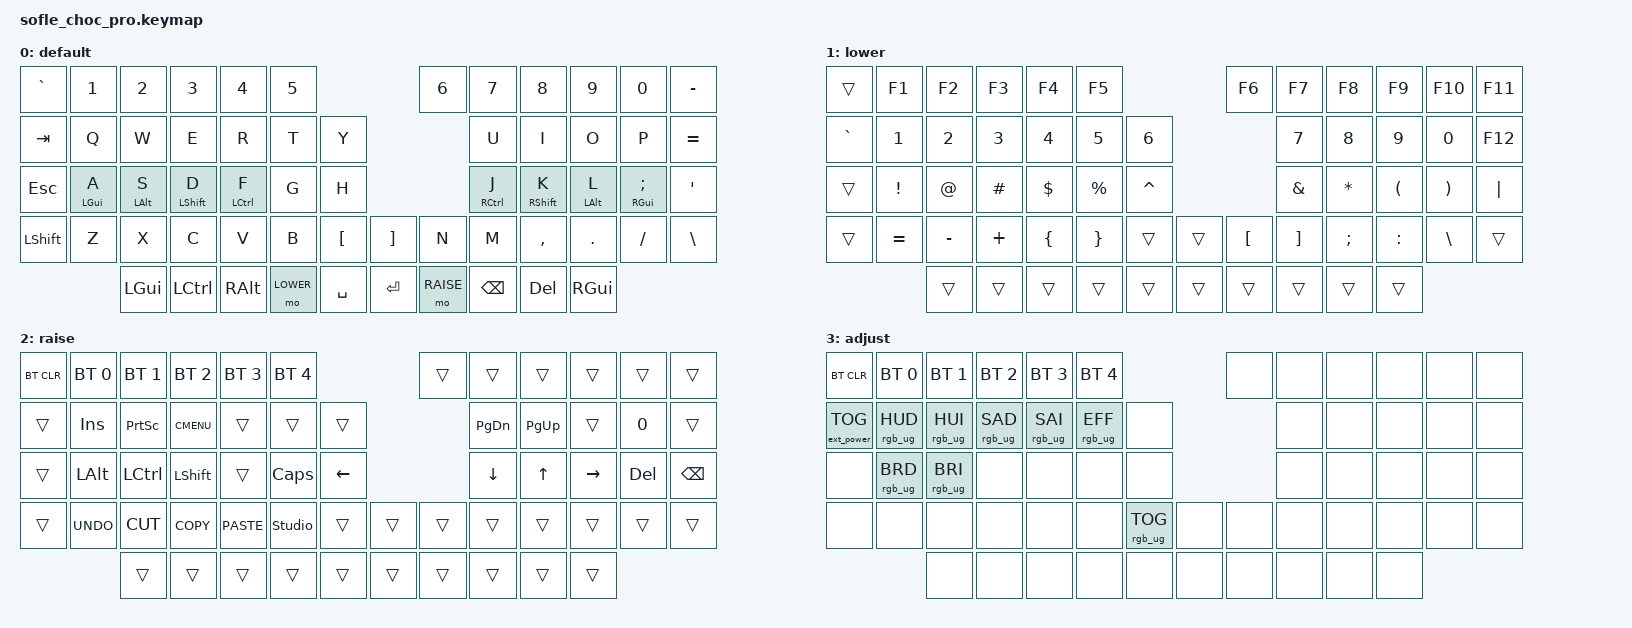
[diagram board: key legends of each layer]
/*
* Copyright (c) 2020 The ZMK Contributors
*
* SPDX-License-Identifier: MIT
*/

#include <behaviors.dtsi>
#include <dt-bindings/zmk/bt.h>
#include <dt-bindings/zmk/ext_power.h>
#include <dt-bindings/zmk/keys.h>
#include <dt-bindings/zmk/rgb.h>

#define BASE 0
#define LOWER 1
#define RAISE 2
#define ADJUST 3

/ {
    // Activate ADJUST layer by pressing raise and lower

    conditional_layers {
        compatible = "zmk,conditional-layers";

        adjust_layer {
            if-layers = <LOWER RAISE>;
            then-layer = <ADJUST>;
        };
    };

    behaviors {
        hml: hml {
            compatible = "zmk,behavior-hold-tap";
            label = "HML";
            bindings = <&kp>, <&kp>;

            #binding-cells = <2>;
            tapping-term-ms = <150>;
            quick-tap-ms = <175>;
            require-prior-idle-ms = <50>;
            flavor = "balanced";
            hold-trigger-on-release;
            hold-trigger-key-positions = <28 27 26 25>;
            retro-tap;
        };

        hmr: hmr {
            compatible = "zmk,behavior-hold-tap";
            label = "HMR";
            bindings = <&kp>, <&kp>;

            #binding-cells = <2>;
            tapping-term-ms = <150>;
            quick-tap-ms = <175>;
            require-prior-idle-ms = <50>;
            flavor = "balanced";
            hold-trigger-on-release;
            hold-trigger-key-positions = <31 32 33 34>;
            retro-tap;
        };
    };

    keymap {
        compatible = "zmk,keymap";

        default_layer {
            display-name = "default";

            // ------------------------------------------------------------------------------------------------------------
            // |   `   |  1  |  2  |  3   |  4   |  5   |                   |  6   |  7    |  8    |  9   |   0   |   `   |
            // |  ESC  |  Q  |  W  |  E   |  R   |  T   |                   |  Y   |  U    |  I    |  O   |   P   | BKSPC |
            // |  TAB  |  A  |  S  |  D   |  F   |  G   |                   |  H   |  J    |  K    |  L   |   ;   |   '   |
            // | SHIFT |  Z  |  X  |  C   |  V   |  B   |  MUTE  |  | PLAY  |  N   |  M    |  ,    |  .   |   /   | SHIFT |
            //               | GUI | ALT  | CTRL | LOWER|  ENTER |  | SPACE | RAISE| CTRL  | ALT   | GUI  |

            bindings = <
&kp GRAVE   &kp N1           &kp N2           &kp N3             &kp N4         &kp N5                                          &kp N6     &kp N7         &kp N8        &kp N9           &kp N0                    &kp MINUS
&kp TAB     &kp Q            &kp W            &kp E              &kp R          &kp T      &kp Y                                           &kp U          &kp I         &kp O            &kp P                     &kp EQUAL
&kp ESCAPE  &hml LEFT_GUI A  &hml LEFT_ALT S  &hml LEFT_SHIFT D  &hml LCTRL F   &kp G      &kp H                                           &hmr RCTRL J   &hmr RSHFT K  &hmr LEFT_ALT L  &hmr RIGHT_GUI SEMICOLON  &kp SQT
&kp LSHFT   &kp Z            &kp X            &kp C              &kp V          &kp B      &kp LEFT_BRACKET  &kp RIGHT_BRACKET  &kp N      &kp M          &kp COMMA     &kp DOT          &kp FSLH                  &kp BACKSLASH
                             &kp LGUI         &kp LEFT_CONTROL   &kp RIGHT_ALT  &mo LOWER  &kp SPACE         &kp ENTER          &mo RAISE  &kp BACKSPACE  &kp DELETE    &kp RGUI
            >;
        };

        lower_layer {
            display-name = "lower";

            // ------------------------------------------------------------------------------------------------------------
            // |       |  F1 |  F2 |  F3  |  F4  |  F5  |                   |  F6  |  F7   |  F8   |  F9  |  F10  |  F11  |
            // |   `   |  1  |  2  |  3   |  4   |  5   |                   |  6   |  7    |  8    |  9   |   0   |  F12  |
            // |       |  !  |  @  |  #   |  $   |  %   |                   |  ^   |  &    |  *    |  (   |   )   |   |   |
            // |       |  =  |  -  |  +   |  {   |  }   |        |  |       |  [   |  ]    |  ;    |  :   |   \   |       |
            //               |     |      |      |      |        |  |       |      |       |       |      |

            bindings = <
&trans     &kp F1     &kp F2     &kp F3    &kp F4    &kp F5                        &kp F6    &kp F7    &kp F8     &kp F9     &kp F10   &kp F11
&kp GRAVE  &kp N1     &kp N2     &kp N3    &kp N4    &kp N5     &kp N6                       &kp N7    &kp N8     &kp N9     &kp N0    &kp F12
&trans     &kp EXCL   &kp AT     &kp HASH  &kp DLLR  &kp PRCNT  &kp CARET                    &kp AMPS  &kp ASTRK  &kp LPAR   &kp RPAR  &kp PIPE
&trans     &kp EQUAL  &kp MINUS  &kp PLUS  &kp LBRC  &kp RBRC   &trans     &trans  &kp LBKT  &kp RBKT  &kp SEMI   &kp COLON  &kp BSLH  &trans
                      &trans     &trans    &trans    &trans     &trans     &trans  &trans    &trans    &trans     &trans
            >;
        };

        raise_layer {
            display-name = "raise";

            // ------------------------------------------------------------------------------------------------------------
            // | BTCLR | BT1  | BT2  |  BT3  |  BT4  |  BT5 |                |      |      |       |      |       |       |
            // |       | INS  | PSCR | GUI   |       |      |                | PGUP |      |   ^   |      |       |       |
            // |       | ALT  | CTRL | SHIFT |       | CAPS |                | PGDN |   <- |   v   |  ->  |  DEL  | BKSPC |
            // |       | UNDO | CUT  | COPY  | PASTE |      |      |  |      |      |      |       |      |       |       |
            //                |      |       |       |      |      |  |      |      |      |       |      |

            bindings = <
&bt BT_CLR  &bt BT_SEL 0  &bt BT_SEL 1  &bt BT_SEL 2  &bt BT_SEL 3  &bt BT_SEL 4                            &trans  &trans          &trans        &trans     &trans   &trans
&trans      &kp INS       &kp PSCRN     &kp K_CMENU   &trans        &trans          &trans                          &kp PAGE_DOWN   &kp PAGE_UP   &trans     &kp N0   &trans
&trans      &kp LALT      &kp LCTRL     &kp LSHFT     &trans        &kp CLCK        &kp LEFT_ARROW                  &kp DOWN_ARROW  &kp UP_ARROW  &kp RIGHT  &kp DEL  &kp BSPC
&trans      &kp K_UNDO    &kp K_CUT     &kp K_COPY    &kp K_PASTE   &studio_unlock  &trans          &trans  &trans  &trans          &trans        &trans     &trans   &trans
                          &trans        &trans        &trans        &trans          &trans          &trans  &trans  &trans          &trans        &trans
            >;
        };

        adjust_layer {
            // ----------------------------------------------------------------------------------------------------------------------------
            // | BTCLR  |  BT1    |  BT2    |   BT3   |   BT4   |   BT5   |                  |      |      |       |      |       |       |
            // | EXTPWR | RGB_HUD | RGB_HUI | RGB_SAD | RGB_SAI | RGB_EFF |                  |      |      |       |      |       |       |
            // |        | RGB_BRD | RGB_BRI |         |         |         |                  |      |      |       |      |       |       |
            // |        |         |         |         |         |         | RGB_TOG | |      |      |      |       |      |       |       |
            //                    |         |         |         |         |         | |      |      |      |       |      |

            display-name = "adjust";
            bindings = <
&bt BT_CLR         &bt BT_SEL 0     &bt BT_SEL 1     &bt BT_SEL 2     &bt BT_SEL 3     &bt BT_SEL 4                             &none  &none  &none  &none  &none  &none
&ext_power EP_TOG  &rgb_ug RGB_HUD  &rgb_ug RGB_HUI  &rgb_ug RGB_SAD  &rgb_ug RGB_SAI  &rgb_ug RGB_EFF  &none                          &none  &none  &none  &none  &none
&none              &rgb_ug RGB_BRD  &rgb_ug RGB_BRI  &none            &none            &none            &none                          &none  &none  &none  &none  &none
&none              &none            &none            &none            &none            &none            &rgb_ug RGB_TOG  &none  &none  &none  &none  &none  &none  &none
                                    &none            &none            &none            &none            &none            &none  &none  &none  &none  &none
            >;
        };
    };
};
